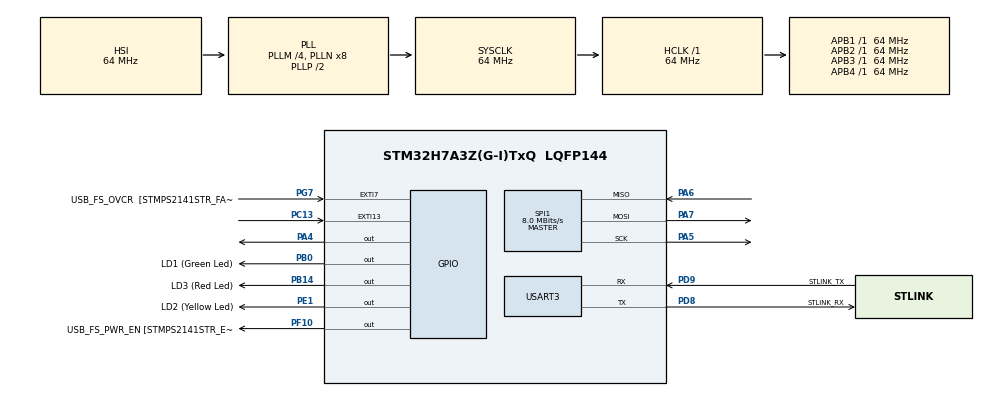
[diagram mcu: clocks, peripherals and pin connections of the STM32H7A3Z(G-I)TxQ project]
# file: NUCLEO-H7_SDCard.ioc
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FATFS._FS_EXFAT=1
FATFS._FS_LOCK=0
FATFS._MAX_SS=4096
FATFS._USE_LFN=1
Mcu.Family=STM32H7
Mcu.Name=STM32H7A3Z(G-I)TxQ
Mcu.Package=LQFP144
NVIC.EXTI15_10_IRQn=true\:0\:0\:false\:false\:true\:true\:true\:true
NVIC.EXTI9_5_IRQn=true\:0\:0\:false\:false\:true\:true\:true\:true
NVIC.PriorityGroup=NVIC_PRIORITYGROUP_4
PA10.GPIO_Label=USB_FS_ID [ZX62RD-AB-5P8_ID]
PA10.Signal=USB_OTG_HS_ID
PA11.GPIO_Label=USB_FS_N [USBLC6-2SC6_IO_1]
PA11.Signal=USB_OTG_HS_DM
PA12.GPIO_Label=USB_FS_P [USBLC6-2SC6_IO_2]
PA12.Signal=USB_OTG_HS_DP
PA4.GPIO_Speed=GPIO_SPEED_FREQ_MEDIUM
PA4.PinState=GPIO_PIN_SET
PA4.Signal=GPIO_Output
PA5.Mode=Full_Duplex_Master
PA5.Signal=SPI1_SCK
PA6.Mode=Full_Duplex_Master
PA6.Signal=SPI1_MISO
PA7.Mode=Full_Duplex_Master
PA7.Signal=SPI1_MOSI
PA9.GPIO_Label=USB_FS_VBUS  [ZX62RD-AB-5P8_VBUS]
PA9.Signal=USB_OTG_HS_VBUS
PB0.GPIO_Label=LD1 (Green Led)
PB0.Signal=GPIO_Output
PB14.GPIO_Label=LD3 (Red Led)
PB14.Signal=GPIO_Output
PC13.Signal=GPXTI13
PC14-OSC32_IN.GPIO_Label=OSC32_IN
PC14-OSC32_IN.Signal=RCC_OSC32_IN
PC15-OSC32_OUT.GPIO_Label=OSC32_OUT
PC15-OSC32_OUT.Signal=RCC_OSC32_OUT
PD8.GPIO_Label=STLINK_RX
PD8.Mode=Asynchronous
PD8.Signal=USART3_TX
PD9.GPIO_Label=STLINK_TX
PD9.Mode=Asynchronous
PD9.Signal=USART3_RX
PE1.GPIO_Label=LD2 (Yellow Led)
PE1.Signal=GPIO_Output
PF10.GPIO_Label=USB_FS_PWR_EN [STMPS2141STR_EN]
PF10.Signal=GPIO_Output
PG7.GPIO_Label=USB_FS_OVCR  [STMPS2141STR_FAULT]
PG7.Signal=GPXTI7
PH0-OSC_IN.GPIO_Label=PH0-MCU
PH0-OSC_IN.Signal=RCC_OSC_IN
PH1-OSC_OUT.GPIO_Label=PH1-MCU
PH1-OSC_OUT.Signal=RCC_OSC_OUT
ProjectManager.HeapSize=0x200
ProjectManager.StackSize=0x400
ProjectManager.TargetToolchain=STM32CubeIDE
RCC.ADCFreq_Value=129000000
RCC.APB1Freq_Value=64000000
RCC.APB2Freq_Value=64000000
RCC.APB3Freq_Value=64000000
RCC.APB4Freq_Value=64000000
RCC.CortexFreq_Value=64000000
RCC.DIVM1=4
RCC.DIVM3=1
RCC.DIVN1=8
RCC.DIVN3=24
RCC.DIVQ1=4
RCC.HCLKFreq_Value=64000000
RCC.HSE_VALUE=8000000
RCC.PLLFRACN=0
RCC.PWR_Regulator_Voltage_Scale=PWR_REGULATOR_VOLTAGE_SCALE0
RCC.SYSCLKFreq_VALUE=64000000
RCC.SYSCLKSource=RCC_SYSCLKSOURCE_PLLCLK
RCC.SupplySource=PWR_DIRECT_SMPS_SUPPLY
RCC.USBCLockSelection=RCC_USBCLKSOURCE_HSI48
RCC.USBFreq_Value=48000000
SPI1.BaudRatePrescaler=SPI_BAUDRATEPRESCALER_4
SPI1.CalculateBaudRate=8.0 MBits/s
SPI1.DataSize=SPI_DATASIZE_8BIT
SPI1.Direction=SPI_DIRECTION_2LINES
SPI1.Mode=SPI_MODE_MASTER
SPI1.VirtualType=VM_MASTER
USART3.VirtualMode-Asynchronous=VM_ASYNC
VP_FATFS_VS_Generic.Mode=User_defined
board=NUCLEO-H7A3ZI-Q

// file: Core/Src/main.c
/* USER CODE BEGIN Header */
/**
  ******************************************************************************
  * @file           : main.c
  * @brief          : Main program body
  ******************************************************************************
  * @attention
  *
  * Copyright (c) 2024 STMicroelectronics.
  * All rights reserved.
  *
  * This software is licensed under terms that can be found in the LICENSE file
  * in the root directory of this software component.
  * If no LICENSE file comes with this software, it is provided AS-IS.
  *
  ******************************************************************************
  */
/* USER CODE END Header */
#include "main.h"
#include "fatfs.h"

/* USER CODE BEGIN Includes */
#include "fatfs_sd.h"
#include "string.h"
#include "stdio.h"
#include "time.h"
/* USER CODE END Includes */

/* USER CODE BEGIN PD */
#define LOG_FILE "logfile.txt"
#define COUNTER_FILE "counter.txt"
/* USER CODE END PD */

SPI_HandleTypeDef hspi1;

UART_HandleTypeDef huart3;

/* USER CODE BEGIN PV */
FATFS fs;
FATFS *pfs;
FIL fil;
FIL counterFile;
FRESULT fres;
DWORD fre_clust;
uint32_t totalSpace, freeSpace;
char buffer[100];
uint8_t buttonPress = 0;
uint8_t counterValue = 1;
/* USER CODE END PV */

void SystemClock_Config(void);
static void MX_GPIO_Init(void);
static void MX_SPI1_Init(void);
static void MX_USART3_UART_Init(void);
/* USER CODE BEGIN PFP */
void transmit_uart(char *string);
uint8_t read_update_counter();
/* USER CODE END PFP */

int main(void)
{

  /* MCU Configuration--------------------------------------------------------*/

  /* Reset of all peripherals, Initializes the Flash interface and the Systick. */
  HAL_Init();

  /* Configure the system clock */
  SystemClock_Config();

  /* Initialize all configured peripherals */
  MX_GPIO_Init();
  MX_SPI1_Init();
  MX_USART3_UART_Init();
  MX_FATFS_Init();
  /* USER CODE BEGIN 2 */
  HAL_Delay(500);

  HAL_GPIO_WritePin(GPIOB, GPIO_PIN_14, GPIO_PIN_RESET); // Reset red interrupt indication LED

  // Mount SD card
  fres = f_mount(&fs, "", 0);
  if (fres == FR_OK) {
	  transmit_uart("SD card mounted successfully.\n");
  } else if (fres != FR_OK) {
	  transmit_uart("SD card failed to mount!\n");
	  return 0;
  }

  // Open log file or create if it does not exist
  fres = f_open(&fil, LOG_FILE, FA_OPEN_APPEND | FA_WRITE | FA_READ);
  if (fres == FR_OK) {
	  transmit_uart("Log file opened successfully.\n");
  } else if (fres != FR_OK) {
	  transmit_uart("Log file failed to open!\n");
	  return 0;
  }

  // Calculate free space
  fres = f_getfree("", &fre_clust, &pfs);
  totalSpace = (uint32_t) ((pfs->n_fatent - 2) * pfs->csize * 0.5);
  freeSpace = (uint32_t) (fre_clust * pfs->csize * 0.5);
  char mSz[12];
  	  sprintf(mSz, "%lu", freeSpace);
  if (fres == FR_OK) {
	  transmit_uart("The free space is: ");
  	  transmit_uart(mSz);
  	  transmit_uart(" Kibibytes");
  	  transmit_uart("\n");
  } else if (fres != FR_OK) {
	  transmit_uart("The free space could not be determined!\n");
	  return 0;
  }

  // Test write to SD card
  counterValue = read_update_counter();
  for (uint8_t i = 0; i < 5; i++) {
    f_printf(&fil, "Test write #%u\n", counterValue);
  }
  f_puts("End of test\n", &fil);

  // Close counter and log files
  fres = f_close(&fil);
  if (fres == FR_OK) {
	  transmit_uart("Files closed successfully.\n");
  } else if (fres != FR_OK) {
	  transmit_uart("Files could not be closed!\n");
	  return 0;
  }

  // Open log file for read-only
  fres = f_open(&fil, LOG_FILE, FA_READ);
  if (fres == FR_OK) {
	  transmit_uart("Log file opened for reading.\n");
  } else if (fres != FR_OK) {
	  transmit_uart("Log file failed to open for reading!\n");
	  return 0;
  }

  // Transmit log file over UART
  while (f_gets(buffer, sizeof(buffer), &fil)) {
	char mRd[100];
  	sprintf(mRd, "%s", buffer);
  	transmit_uart(mRd);
  }

  // Close counter and log files
  fres = f_close(&fil);
  if (fres == FR_OK) {
	transmit_uart("Files closed successfully.\n");
  } else if (fres != FR_OK) {
	transmit_uart("Files failed to close!\n");
	return 0;
  }

  // Unmount SD card
  f_mount(NULL, "", 1);
  if (fres == FR_OK) {
	transmit_uart("SD card unmounted successfully.\n");
  } else if (fres != FR_OK) {
	transmit_uart("SD card failed to mount!");
	return 0;
  }
  /* USER CODE END 2 */

  /* Infinite loop */
  /* USER CODE BEGIN WHILE */
  while (1)
  {
	HAL_GPIO_TogglePin(GPIOB,GPIO_PIN_0); // Blink green LED to indicate operation
	HAL_Delay(500);
	// Delete counter and log files if blue USER button is pressed
	if (buttonPress == 1) {
	  buttonPress = 0;
	  if (f_unlink(LOG_FILE) == FR_OK) {
	    transmit_uart("Log file deleted successfully.\n");
	    if (f_unlink(COUNTER_FILE) == FR_OK) {
	    	transmit_uart("Counter file deleted successfully.\n");
	    } else {
	    	transmit_uart("Counter file deletion failed!\n");
	    }
	  } else {
	    transmit_uart("Log file deletion failed!\n");
	  }
	}
    /* USER CODE END WHILE */

  }
}

void SystemClock_Config(void)
{
  RCC_OscInitTypeDef RCC_OscInitStruct = {0};
  RCC_ClkInitTypeDef RCC_ClkInitStruct = {0};

  /*AXI clock gating */
  RCC->CKGAENR = 0xFFFFFFFF;

  /** Supply configuration update enable
  */
  HAL_PWREx_ConfigSupply(PWR_DIRECT_SMPS_SUPPLY);

  /** Configure the main internal regulator output voltage
  */
  __HAL_PWR_VOLTAGESCALING_CONFIG(PWR_REGULATOR_VOLTAGE_SCALE0);

  while(!__HAL_PWR_GET_FLAG(PWR_FLAG_VOSRDY)) {}

  /** Initializes the RCC Oscillators according to the specified parameters
  * in the RCC_OscInitTypeDef structure.
  */
  RCC_OscInitStruct.OscillatorType = RCC_OSCILLATORTYPE_HSI;
  RCC_OscInitStruct.HSIState = RCC_HSI_DIV1;
  RCC_OscInitStruct.HSICalibrationValue = 64;
  RCC_OscInitStruct.PLL.PLLState = RCC_PLL_ON;
  RCC_OscInitStruct.PLL.PLLSource = RCC_PLLSOURCE_HSI;
  RCC_OscInitStruct.PLL.PLLM = 4;
  RCC_OscInitStruct.PLL.PLLN = 8;
  RCC_OscInitStruct.PLL.PLLP = 2;
  RCC_OscInitStruct.PLL.PLLQ = 4;
  RCC_OscInitStruct.PLL.PLLR = 2;
  RCC_OscInitStruct.PLL.PLLRGE = RCC_PLL1VCIRANGE_3;
  RCC_OscInitStruct.PLL.PLLVCOSEL = RCC_PLL1VCOWIDE;
  RCC_OscInitStruct.PLL.PLLFRACN = 0;
  if (HAL_RCC_OscConfig(&RCC_OscInitStruct) != HAL_OK)
  {
    Error_Handler();
  }

  /** Initializes the CPU, AHB and APB buses clocks
  */
  RCC_ClkInitStruct.ClockType = RCC_CLOCKTYPE_HCLK|RCC_CLOCKTYPE_SYSCLK
                              |RCC_CLOCKTYPE_PCLK1|RCC_CLOCKTYPE_PCLK2
                              |RCC_CLOCKTYPE_D3PCLK1|RCC_CLOCKTYPE_D1PCLK1;
  RCC_ClkInitStruct.SYSCLKSource = RCC_SYSCLKSOURCE_PLLCLK;
  RCC_ClkInitStruct.SYSCLKDivider = RCC_SYSCLK_DIV1;
  RCC_ClkInitStruct.AHBCLKDivider = RCC_HCLK_DIV1;
  RCC_ClkInitStruct.APB3CLKDivider = RCC_APB3_DIV1;
  RCC_ClkInitStruct.APB1CLKDivider = RCC_APB1_DIV1;
  RCC_ClkInitStruct.APB2CLKDivider = RCC_APB2_DIV1;
  RCC_ClkInitStruct.APB4CLKDivider = RCC_APB4_DIV1;

  if (HAL_RCC_ClockConfig(&RCC_ClkInitStruct, FLASH_LATENCY_1) != HAL_OK)
  {
    Error_Handler();
  }
}

static void MX_SPI1_Init(void)
{

  /* SPI1 parameter configuration*/
  hspi1.Instance = SPI1;
  hspi1.Init.Mode = SPI_MODE_MASTER;
  hspi1.Init.Direction = SPI_DIRECTION_2LINES;
  hspi1.Init.DataSize = SPI_DATASIZE_8BIT;
  hspi1.Init.CLKPolarity = SPI_POLARITY_LOW;
  hspi1.Init.CLKPhase = SPI_PHASE_1EDGE;
  hspi1.Init.NSS = SPI_NSS_SOFT;
  hspi1.Init.BaudRatePrescaler = SPI_BAUDRATEPRESCALER_4;
  hspi1.Init.FirstBit = SPI_FIRSTBIT_MSB;
  hspi1.Init.TIMode = SPI_TIMODE_DISABLE;
  hspi1.Init.CRCCalculation = SPI_CRCCALCULATION_DISABLE;
  hspi1.Init.CRCPolynomial = 0x0;
  hspi1.Init.NSSPMode = SPI_NSS_PULSE_ENABLE;
  hspi1.Init.NSSPolarity = SPI_NSS_POLARITY_LOW;
  hspi1.Init.FifoThreshold = SPI_FIFO_THRESHOLD_01DATA;
  hspi1.Init.TxCRCInitializationPattern = SPI_CRC_INITIALIZATION_ALL_ZERO_PATTERN;
  hspi1.Init.RxCRCInitializationPattern = SPI_CRC_INITIALIZATION_ALL_ZERO_PATTERN;
  hspi1.Init.MasterSSIdleness = SPI_MASTER_SS_IDLENESS_00CYCLE;
  hspi1.Init.MasterInterDataIdleness = SPI_MASTER_INTERDATA_IDLENESS_00CYCLE;
  hspi1.Init.MasterReceiverAutoSusp = SPI_MASTER_RX_AUTOSUSP_DISABLE;
  hspi1.Init.MasterKeepIOState = SPI_MASTER_KEEP_IO_STATE_DISABLE;
  hspi1.Init.IOSwap = SPI_IO_SWAP_DISABLE;
  if (HAL_SPI_Init(&hspi1) != HAL_OK)
  {
    Error_Handler();
  }

}

static void MX_USART3_UART_Init(void)
{

  huart3.Instance = USART3;
  huart3.Init.BaudRate = 115200;
  huart3.Init.WordLength = UART_WORDLENGTH_8B;
  huart3.Init.StopBits = UART_STOPBITS_1;
  huart3.Init.Parity = UART_PARITY_NONE;
  huart3.Init.Mode = UART_MODE_TX_RX;
  huart3.Init.HwFlowCtl = UART_HWCONTROL_NONE;
  huart3.Init.OverSampling = UART_OVERSAMPLING_16;
  huart3.Init.OneBitSampling = UART_ONE_BIT_SAMPLE_DISABLE;
  huart3.Init.ClockPrescaler = UART_PRESCALER_DIV1;
  huart3.AdvancedInit.AdvFeatureInit = UART_ADVFEATURE_NO_INIT;
  if (HAL_UART_Init(&huart3) != HAL_OK)
  {
    Error_Handler();
  }
  if (HAL_UARTEx_SetTxFifoThreshold(&huart3, UART_TXFIFO_THRESHOLD_1_8) != HAL_OK)
  {
    Error_Handler();
  }
  if (HAL_UARTEx_SetRxFifoThreshold(&huart3, UART_RXFIFO_THRESHOLD_1_8) != HAL_OK)
  {
    Error_Handler();
  }
  if (HAL_UARTEx_DisableFifoMode(&huart3) != HAL_OK)
  {
    Error_Handler();
  }

}

static void MX_GPIO_Init(void)
{
  GPIO_InitTypeDef GPIO_InitStruct = {0};

  /* GPIO Ports Clock Enable */
  __HAL_RCC_GPIOC_CLK_ENABLE();
  __HAL_RCC_GPIOF_CLK_ENABLE();
  __HAL_RCC_GPIOH_CLK_ENABLE();
  __HAL_RCC_GPIOA_CLK_ENABLE();
  __HAL_RCC_GPIOB_CLK_ENABLE();
  __HAL_RCC_GPIOD_CLK_ENABLE();
  __HAL_RCC_GPIOG_CLK_ENABLE();
  __HAL_RCC_GPIOE_CLK_ENABLE();

  /*Configure GPIO pin Output Level */
  HAL_GPIO_WritePin(USB_FS_PWR_EN_GPIO_Port, USB_FS_PWR_EN_Pin, GPIO_PIN_RESET);

  /*Configure GPIO pin Output Level */
  HAL_GPIO_WritePin(GPIOA, GPIO_PIN_4, GPIO_PIN_SET);

  /*Configure GPIO pin Output Level */
  HAL_GPIO_WritePin(GPIOB, LD1_Pin|LD3_Pin, GPIO_PIN_RESET);

  /*Configure GPIO pin Output Level */
  HAL_GPIO_WritePin(LD2_GPIO_Port, LD2_Pin, GPIO_PIN_RESET);

  /*Configure GPIO pin : PC13 */
  GPIO_InitStruct.Pin = GPIO_PIN_13;
  GPIO_InitStruct.Mode = GPIO_MODE_IT_RISING;
  GPIO_InitStruct.Pull = GPIO_NOPULL;
  HAL_GPIO_Init(GPIOC, &GPIO_InitStruct);

  /*Configure GPIO pin : USB_FS_PWR_EN_Pin */
  GPIO_InitStruct.Pin = USB_FS_PWR_EN_Pin;
  GPIO_InitStruct.Mode = GPIO_MODE_OUTPUT_PP;
  GPIO_InitStruct.Pull = GPIO_NOPULL;
  GPIO_InitStruct.Speed = GPIO_SPEED_FREQ_LOW;
  HAL_GPIO_Init(USB_FS_PWR_EN_GPIO_Port, &GPIO_InitStruct);

  /*Configure GPIO pin : PA4 */
  GPIO_InitStruct.Pin = GPIO_PIN_4;
  GPIO_InitStruct.Mode = GPIO_MODE_OUTPUT_PP;
  GPIO_InitStruct.Pull = GPIO_NOPULL;
  GPIO_InitStruct.Speed = GPIO_SPEED_FREQ_MEDIUM;
  HAL_GPIO_Init(GPIOA, &GPIO_InitStruct);

  /*Configure GPIO pins : LD1_Pin LD3_Pin */
  GPIO_InitStruct.Pin = LD1_Pin|LD3_Pin;
  GPIO_InitStruct.Mode = GPIO_MODE_OUTPUT_PP;
  GPIO_InitStruct.Pull = GPIO_NOPULL;
  GPIO_InitStruct.Speed = GPIO_SPEED_FREQ_LOW;
  HAL_GPIO_Init(GPIOB, &GPIO_InitStruct);

  /*Configure GPIO pin : USB_FS_OVCR_Pin */
  GPIO_InitStruct.Pin = USB_FS_OVCR_Pin;
  GPIO_InitStruct.Mode = GPIO_MODE_IT_RISING;
  GPIO_InitStruct.Pull = GPIO_NOPULL;
  HAL_GPIO_Init(USB_FS_OVCR_GPIO_Port, &GPIO_InitStruct);

  /*Configure GPIO pin : USB_FS_ID_Pin */
  GPIO_InitStruct.Pin = USB_FS_ID_Pin;
  GPIO_InitStruct.Mode = GPIO_MODE_AF_PP;
  GPIO_InitStruct.Pull = GPIO_NOPULL;
  GPIO_InitStruct.Speed = GPIO_SPEED_FREQ_LOW;
  GPIO_InitStruct.Alternate = GPIO_AF10_OTG1_HS;
  HAL_GPIO_Init(USB_FS_ID_GPIO_Port, &GPIO_InitStruct);

  /*Configure GPIO pins : USB_FS_N_Pin USB_FS_P_Pin */
  GPIO_InitStruct.Pin = USB_FS_N_Pin|USB_FS_P_Pin;
  GPIO_InitStruct.Mode = GPIO_MODE_AF_PP;
  GPIO_InitStruct.Pull = GPIO_NOPULL;
  GPIO_InitStruct.Speed = GPIO_SPEED_FREQ_LOW;
  HAL_GPIO_Init(GPIOA, &GPIO_InitStruct);

  /*Configure GPIO pin : LD2_Pin */
  GPIO_InitStruct.Pin = LD2_Pin;
  GPIO_InitStruct.Mode = GPIO_MODE_OUTPUT_PP;
  GPIO_InitStruct.Pull = GPIO_NOPULL;
  GPIO_InitStruct.Speed = GPIO_SPEED_FREQ_LOW;
  HAL_GPIO_Init(LD2_GPIO_Port, &GPIO_InitStruct);

  /* EXTI interrupt init*/
  HAL_NVIC_SetPriority(EXTI9_5_IRQn, 0, 0);
  HAL_NVIC_EnableIRQ(EXTI9_5_IRQn);

  HAL_NVIC_SetPriority(EXTI15_10_IRQn, 0, 0);
  HAL_NVIC_EnableIRQ(EXTI15_10_IRQn);

}

/* USER CODE BEGIN 4 */
void transmit_uart(char *string) {
  uint8_t len = strlen(string);
  HAL_UART_Transmit(&huart3, (uint8_t*) string, len, 200);
}

// Interrupt routine for blue USER button
void HAL_GPIO_EXTI_Callback(uint16_t GPIO_Pin)
{
  if(GPIO_Pin == GPIO_PIN_13) {
	  buttonPress = 1;
	  HAL_GPIO_WritePin(GPIOB, GPIO_PIN_14, GPIO_PIN_SET);
	  fres = f_mount(&fs, "", 0);
	  if (fres == FR_OK) {
		  transmit_uart("SD card mounted successfully.\n");
	  } else if (fres != FR_OK) {
		  transmit_uart("SD card failed to mount!\n");
		  HAL_GPIO_WritePin(GPIOB, GPIO_PIN_14, GPIO_PIN_RESET);
	  }
  } else {
      __NOP();
  }
}

// Read and update the counter file
uint8_t read_update_counter() {
  fres = f_open(&counterFile, COUNTER_FILE, FA_READ | FA_WRITE);
  if (fres == FR_OK) {
	  transmit_uart("Counter file opened successfully.\n");
  }
  else if (fres != FR_OK) {
    if (fres == FR_NO_FILE) {
      fres = f_open(&counterFile, COUNTER_FILE, FA_CREATE_NEW | FA_WRITE);
      if (fres == FR_OK) {
    	transmit_uart("Counter file created successfully.\n");
        f_printf(&counterFile, "%u\n", 1);
        f_close(&counterFile);
      } else {
    	transmit_uart("Counter file creation failed!\n");
        return 0;
      }
    } else {
      transmit_uart("Counter file failed to open!\n");
      return 0;
    }
  }

  char buffer[3];
  f_lseek(&counterFile, 0);
  f_gets(buffer, sizeof(buffer), &counterFile);
  counterValue = atoi(buffer);

  counterValue++;

  f_lseek(&counterFile, 0);
  f_printf(&counterFile, "%u\n", counterValue);

  f_close(&counterFile);
  return counterValue;
}
/* USER CODE END 4 */

void Error_Handler(void)
{
  __disable_irq();
  while (1)
  {
  }
}
